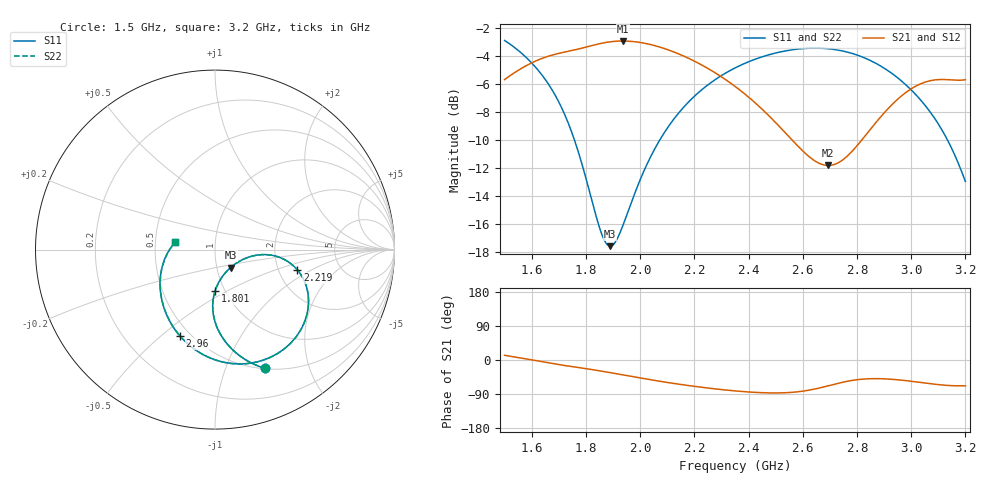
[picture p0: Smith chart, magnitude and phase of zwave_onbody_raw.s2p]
! z-wave, serp_R 8.5, sub_h 6.508, ON-BODY phantom
! raw single-ended 2-port; Sdd11 = (S11-S12-S21+S22)/2
# GHZ S RI R 50
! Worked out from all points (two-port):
!   1003 points, 1.5 GHz to 3.2 GHz, reference 50 ohm
!   highest |S21| = -2.90 dB at 1.935 GHz (marker M1); lowest = -11.8 dB at 2.693 GHz (marker M2)
!   |S21| within 3 dB of the highest: start of sweep to 2.333 GHz; 3.042 GHz to end of sweep
!   lowest |S11| = -17.6 dB at 1.889 GHz (marker M3), VSWR 1.31, Z = 58.2 - j11.9 ohm
!   |S11| at or under -10 dB: 1.758 GHz to 2.072 GHz (313.6 MHz wide, 16.4 % of centre); 3.135 GHz to end of sweep
!   |S22| runs from -17.5 to -2.9 dB; largest |S21 - S12| = 0.00011
!   S11 on the Smith chart (normalised r, x): 1.5 GHz: 0.50, -1.39; 1.801 GHz: 0.90, -0.44; 2.219 GHz: 2.54, -0.73; 2.96 GHz: 0.44, -0.58; 3.2 GHz: 0.64, +0.06
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1.5  0.2807 -0.6623  0.5091 0.1123  0.5091 0.1123  0.2813 -0.6622
1.585  0.1492 -0.6001  0.5877 0.0218  0.5877 0.0218  0.1499 -0.6001
1.6683  0.0408 -0.4892  0.6281 -0.0916  0.6281 -0.0916  0.0415 -0.4895
1.7295  -0.00693 -0.3752  0.6327 -0.174  0.6327 -0.174  -0.00623 -0.3756
1.7839  -0.00812 -0.263  0.6294 -0.2427  0.6294 -0.2427  -0.00752 -0.2634
1.8009  0.00034 -0.2299  0.6275 -0.2649  0.6276 -0.2649  0.000909 -0.2304
1.8553  0.0478 -0.141  0.6134 -0.3416  0.6134 -0.3416  0.0483 -0.1415
1.8893  0.0866 -0.1001  0.5941 -0.391  0.5941 -0.391  0.0871 -0.1005
1.9352  0.1434 -0.0608  0.5543 -0.4531  0.5543 -0.4531  0.1439 -0.0612
2.0678  0.3101 -0.0303  0.3857 -0.564  0.3857 -0.564  0.3105 -0.0308
2.2191  0.4584 -0.1123  0.1904 -0.5623  0.1904 -0.5623  0.4587 -0.1128
2.35  0.5181 -0.2462  0.0723 -0.4878  0.0723 -0.4878  0.5184 -0.2465
2.4945  0.4907 -0.4214  0.0194 -0.37  0.0194 -0.37  0.4911 -0.4216
2.6339  0.3585 -0.5721  0.0558 -0.2656  0.0559 -0.2656  0.3593 -0.5722
2.6934  0.2707 -0.6149  0.0957 -0.2387  0.0958 -0.2387  0.2718 -0.615
2.8073  0.0673 -0.6309  0.1922 -0.2409  0.1922 -0.241  0.0688 -0.6315
2.9178  -0.1316 -0.5423  0.2637 -0.3183  0.2638 -0.3182  -0.1299 -0.5435
2.9603  -0.1958 -0.4808  0.2728 -0.3609  0.2728 -0.3608  -0.1942 -0.4823
3.03  -0.2744 -0.3517  0.2592 -0.4287  0.2593 -0.4287  -0.273 -0.3537
3.0929  -0.3058 -0.2099  0.2249 -0.4694  0.2249 -0.4694  -0.3048 -0.2122
3.1456  -0.2902 -0.0803  0.1985 -0.4807  0.1985 -0.4807  -0.2897 -0.0827
3.2  -0.2213 0.0425  0.1941 -0.4831  0.1941 -0.4831  -0.2212 0.0402
